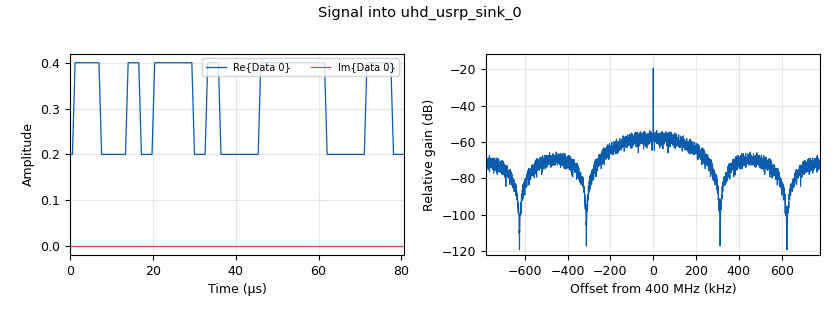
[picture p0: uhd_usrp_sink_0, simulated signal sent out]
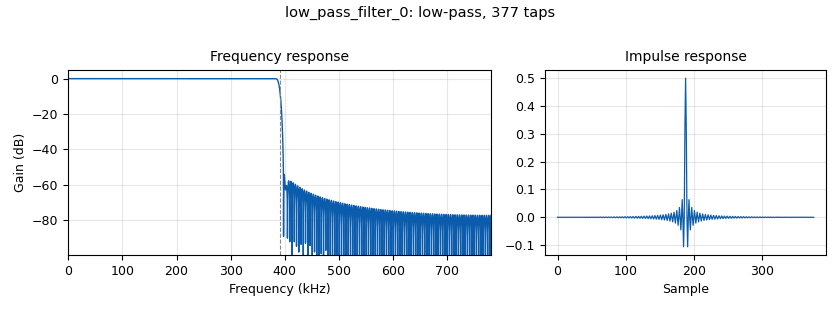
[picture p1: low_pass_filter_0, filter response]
options:
  parameters:
    author: sebastin_magda
    generate_options: qt_gui
    id: receptor
    output_language: python
    title: receptor
  states: {}

blocks:
- name: Ac
  id: variable_qtgui_range
  parameters:
    label: Amplitud de l aportadora
    start: '0'
    step: '1e-1'
    stop: '2'
    value: '0.2'
  states: {}
- name: Fc
  id: variable_qtgui_range
  parameters:
    label: frecuencia de portadora
    start: '50000000'
    step: '1000000'
    stop: '2200000000'
    value: '400000000'
  states: {}
- name: GRX
  id: variable_qtgui_range
  parameters:
    label: 'Ganacia del receptor '
    start: '0'
    step: '0.5'
    stop: '31'
    value: '0'
  states: {}
- name: GTX
  id: variable_qtgui_range
  parameters:
    label: Ganancia del transmisor
    start: '0'
    step: '1'
    stop: '30'
    value: '0'
  states: {}
- name: Ka
  id: variable_qtgui_range
  parameters:
    label: coeficiente sensibilidad
    start: '0'
    step: '1e-1'
    stop: '2'
    value: '1'
  states: {}
- name: fo
  id: variable_qtgui_range
  parameters:
    label: frecuencia del filtro
    start: '0'
    step: 1.5625e3
    stop: '781250'
    value: 390.625e3
  states: {}
- name: samp_rate
  id: variable
  parameters:
    value: 12500000/8
  states: {}
- name: analog_random_source_x_0
  id: analog_random_source_x
  parameters:
    max: '2'
    min: '0'
    num_samps: '100000'
    repeat: 'True'
    type: byte
  states: {}
- name: blocks_add_const_vxx_0
  id: blocks_add_const_vxx
  parameters:
    const: '1'
    type: float
  states: {}
- name: blocks_complex_to_mag_0
  id: blocks_complex_to_mag
  parameters: {}
  states: {}
- name: blocks_complex_to_mag_1
  id: blocks_complex_to_mag
  parameters: {}
  states: {}
- name: blocks_float_to_complex_0
  id: blocks_float_to_complex
  parameters: {}
  states: {}
- name: blocks_multiply_const_vxx_0
  id: blocks_multiply_const_vxx
  parameters:
    const: Ka
    type: float
  states: {}
- name: blocks_multiply_const_vxx_1
  id: blocks_multiply_const_vxx
  parameters:
    const: Ac
    type: complex
  states: {}
- name: blocks_null_source_0
  id: blocks_null_source
  parameters:
    type: float
  states: {}
- name: blocks_repeat_0
  id: blocks_repeat
  parameters:
    interp: '5'
    type: float
  states: {}
- name: blocks_uchar_to_float_0
  id: blocks_uchar_to_float
  parameters: {}
  states: {}
- name: low_pass_filter_0
  id: low_pass_filter
  parameters:
    cutoff_freq: fo
    decim: '1'
    gain: '1'
    samp_rate: samp_rate
    type: fir_filter_ccf
    width: '10000'
    win: window.WIN_HAMMING
  states: {}
- name: qtgui_freq_sink_x_0
  id: qtgui_freq_sink_x
  parameters:
    bw: samp_rate
    fc: '0'
    fftsize: '1024'
    nconnections: '2'
    type: complex
  states: {}
- name: qtgui_time_sink_x_0
  id: qtgui_time_sink_x
  parameters:
    label1: recibida
    label2: transmitida
    nconnections: '2'
    size: '1024'
    srate: samp_rate
    type: float
  states: {}
- name: uhd_usrp_sink_0
  id: uhd_usrp_sink
  parameters:
    ant0: '"TX/RX"'
    center_freq0: Fc
    gain0: GTX
    samp_rate: samp_rate
    sync: pc_clock
    type: fc32
  states: {}
- name: uhd_usrp_source_0
  id: uhd_usrp_source
  parameters:
    ant0: '"RX2"'
    center_freq0: Fc
    gain0: GRX
    samp_rate: samp_rate
    sync: pc_clock
    type: fc32
  states: {}

connections:
- [analog_random_source_x_0, '0', blocks_uchar_to_float_0, '0']
- [blocks_add_const_vxx_0, '0', blocks_float_to_complex_0, '0']
- [blocks_complex_to_mag_0, '0', qtgui_time_sink_x_0, '0']
- [blocks_complex_to_mag_1, '0', qtgui_time_sink_x_0, '1']
- [blocks_float_to_complex_0, '0', blocks_multiply_const_vxx_1, '0']
- [blocks_multiply_const_vxx_0, '0', blocks_add_const_vxx_0, '0']
- [blocks_multiply_const_vxx_1, '0', blocks_complex_to_mag_1, '0']
- [blocks_multiply_const_vxx_1, '0', qtgui_freq_sink_x_0, '1']
- [blocks_multiply_const_vxx_1, '0', uhd_usrp_sink_0, '0']
- [blocks_null_source_0, '0', blocks_float_to_complex_0, '1']
- [blocks_repeat_0, '0', blocks_multiply_const_vxx_0, '0']
- [blocks_uchar_to_float_0, '0', blocks_repeat_0, '0']
- [low_pass_filter_0, '0', blocks_complex_to_mag_0, '0']
- [low_pass_filter_0, '0', qtgui_freq_sink_x_0, '0']
- [uhd_usrp_source_0, '0', low_pass_filter_0, '0']

metadata:
  file_format: 1
  grc_version: 3.10.2.0
